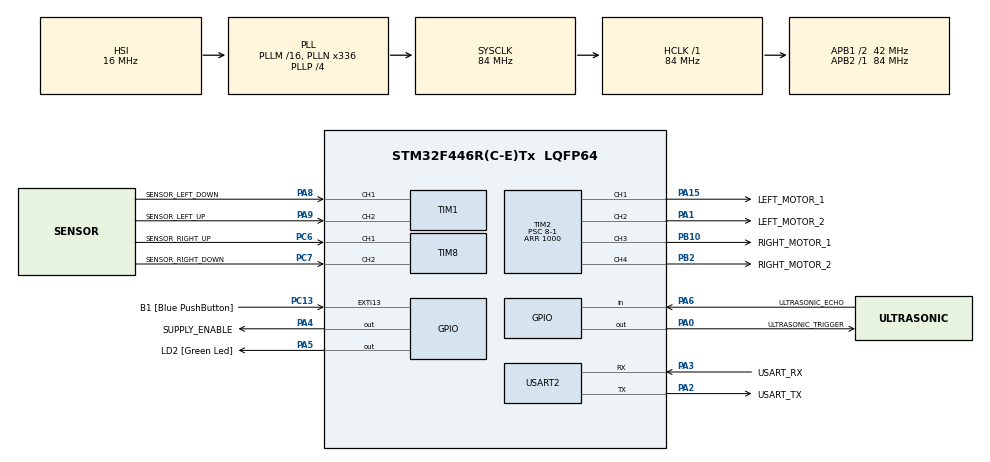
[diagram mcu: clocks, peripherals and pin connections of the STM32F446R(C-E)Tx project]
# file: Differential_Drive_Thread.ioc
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Mcu.Family=STM32F4
VP_TIM5_VS_ClockSourceINT.Mode=Internal
PH0-OSC_IN.Signal=RCC_OSC_IN
VP_SYS_VS_tim6.Mode=TIM6
RCC.CortexFreq_Value=84000000
NVIC.TIM6_DAC_IRQn=true\:0\:0\:false\:false\:true\:false\:false\:true
PA14.GPIO_Label=TCK
PC6.GPIO_Label=SENSOR_RIGHT_UP
TIM1.EncoderMode=TIM_ENCODERMODE_TI1
TIM8.EncoderMode=TIM_ENCODERMODE_TI1
PA6.GPIO_Label=ULTRASONIC_ECHO
TIM2.Channel-PWM\ Generation2\ CH2=TIM_CHANNEL_2
PC13.GPIO_Label=B1 [Blue PushButton]
RCC.SYSCLKSource=RCC_SYSCLKSOURCE_PLLCLK
ProjectManager.StackSize=0x400
VP_FREERTOS_VS_CMSIS_V2.Mode=CMSIS_V2
PA15.GPIO_Label=LEFT_MOTOR_1
RCC.HCLKFreq_Value=84000000
RCC.APB2TimFreq_Value=84000000
TIM3.Period=1000-1
PC7.Signal=S_TIM8_CH2
RCC.AHBFreq_Value=84000000
PH0-OSC_IN.Mode=HSE-External-Oscillator
RCC.HSE_VALUE=8000000
PA4.GPIO_PuPd=GPIO_NOPULL
PB2.Signal=S_TIM2_CH4
TIM12.Period=0xffff
PC14-OSC32_IN.Mode=LSE-External-Oscillator
PA14.Mode=Serial_Wire
TIM3.Prescaler=840-1
PA8.Signal=S_TIM1_CH1
VP_TIM12_VS_ClockSourceINT.Mode=Internal
TIM2.Channel-PWM\ Generation1\ CH1=TIM_CHANNEL_1
RCC.FLatency-AdvancedSettings=FLASH_LATENCY_2
PH1-OSC_OUT.Mode=HSE-External-Oscillator
Mcu.Package=LQFP64
TIM2.Prescaler=8-1
PA6.Signal=GPIO_Input
NVIC.TimeBase=TIM6_DAC_IRQn
USART2.VirtualMode=VM_ASYNC
PA2.GPIO_Label=USART_TX
NVIC.TimeBaseIP=TIM6
PA15.Signal=S_TIM2_CH1_ETR
RCC.APB1TimFreq_Value=84000000
PA4.GPIO_Label=SUPPLY_ENABLE
VP_TIM3_VS_ClockSourceINT.Mode=Internal
PA3.Signal=USART2_RX
PB3.GPIO_Label=SWO
PC15-OSC32_OUT.Mode=LSE-External-Oscillator
TIM2.Channel-PWM\ Generation4\ CH4=TIM_CHANNEL_4
FREERTOS.Tasks01=ControlDiffDriv,48,128,StartControlDiffDrive,Default,NULL,Dynamic,NULL,NULL;DistanceSensor,49,128,StartDistanceSensor,Default,NULL,Dynamic,NULL,NULL
PC13.Signal=GPXTI13
PA9.GPIO_Label=SENSOR_LEFT_UP
PC6.Signal=S_TIM8_CH1
RCC.APB1CLKDivider=RCC_HCLK_DIV2
PC14-OSC32_IN.Signal=RCC_OSC32_IN
SH.S_TIM8_CH2.0=TIM8_CH2,Encoder_Interface
TIM5.ClockDivision=TIM_CLOCKDIVISION_DIV1
PA0-WKUP.GPIO_Label=ULTRASONIC_TRIGGER
PA0-WKUP.Signal=GPIO_Output
PA3.Mode=Asynchronous
PA13.Signal=SYS_JTMS-SWDIO
SH.S_TIM2_CH2.0=TIM2_CH2,PWM Generation2 CH2
PA8.GPIO_Label=SENSOR_LEFT_DOWN
SH.S_TIM1_CH1.0=TIM1_CH1,Encoder_Interface
ProjectManager.TargetToolchain=STM32CubeIDE
PB10.GPIO_Label=RIGHT_MOTOR_1
PA9.Signal=S_TIM1_CH2
RCC.USBFreq_Value=168000000
TIM4.Prescaler=84-1
PC15-OSC32_OUT.Signal=RCC_OSC32_OUT
PA1.Signal=S_TIM2_CH2
PB10.Signal=S_TIM2_CH3
TIM12.Prescaler=84-1
PA5.Signal=GPIO_Output
SH.S_TIM8_CH1.0=TIM8_CH1,Encoder_Interface
board=NUCLEO-F446RE
RCC.VCOOutputFreq_Value=336000000
NVIC.TIM3_IRQn=true\:5\:0\:false\:false\:true\:true\:true\:true
RCC.APB2Freq_Value=84000000
SH.S_TIM1_CH2.0=TIM1_CH2,Encoder_Interface
VP_TIM2_VS_ClockSourceINT.Mode=Internal
SH.S_TIM2_CH3.0=TIM2_CH3,PWM Generation3 CH3
PA1.GPIO_Label=LEFT_MOTOR_2
TIM2.Channel-PWM\ Generation3\ CH3=TIM_CHANNEL_3
PH1-OSC_OUT.Signal=RCC_OSC_OUT
TIM2.Period=1000
PA13.Mode=Serial_Wire
Mcu.Name=STM32F446R(C-E)Tx
PA2.Signal=USART2_TX
PA13.GPIO_Label=TMS
PC7.GPIO_Label=SENSOR_RIGHT_DOWN
RCC.48MHZClocksFreq_Value=84000000
PB3.Signal=SYS_JTDO-SWO
PA4.Signal=GPIO_Output
RCC.SYSCLKFreq_VALUE=84000000
PA5.GPIO_Label=LD2 [Green Led]
TIM5.Prescaler=8400-1
PC13.GPIO_ModeDefaultEXTI=GPIO_MODE_IT_FALLING
SH.S_TIM2_CH1_ETR.0=TIM2_CH1,PWM Generation1 CH1
PA14.Signal=SYS_JTCK-SWCLK
PB2.GPIO_Label=RIGHT_MOTOR_2
ProjectManager.HeapSize=0x200
SH.S_TIM2_CH4.0=TIM2_CH4,PWM Generation4 CH4
RCC.HSI_VALUE=16000000
VP_TIM4_VS_ClockSourceINT.Mode=Internal
RCC.PLLP=RCC_PLLP_DIV4
NVIC.PriorityGroup=NVIC_PRIORITYGROUP_4
RCC.PLLN=336
PA2.Mode=Asynchronous
TIM5.Period=1000000-1
RCC.APB1Freq_Value=42000000
PA3.GPIO_Label=USART_RX

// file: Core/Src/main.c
/* USER CODE BEGIN Header */
/**
  ******************************************************************************
  * @file           : main.c
  * @brief          : Main program body
  ******************************************************************************
  * @attention
  *
  * <h2><center>&copy; Copyright (c) 2021 STMicroelectronics.
  * All rights reserved.</center></h2>
  *
  * This software component is licensed by ST under BSD 3-Clause license,
  * the "License"; You may not use this file except in compliance with the
  * License. You may obtain a copy of the License at:
  *                        opensource.org/licenses/BSD-3-Clause
  *
  ******************************************************************************
  */
/* USER CODE END Header */
#include "main.h"
#include "cmsis_os.h"

/* USER CODE BEGIN Includes */

#include "my_lib/differential_drive.h"
#include "my_lib/retarget.h"
#include "my_lib/datastream.h"
#include "my_lib/idinput_data.h"
#include "my_lib/reference_data.h"
#include "my_lib/identification_data.h"
#include "my_lib/digital_filters.h"
#include "my_lib/utils.h"

#include "stdbool.h"

#include <stdio.h>
#include <stdlib.h>

/* USER CODE END Includes */

TIM_HandleTypeDef htim1;
TIM_HandleTypeDef htim2;
TIM_HandleTypeDef htim3;
TIM_HandleTypeDef htim4;
TIM_HandleTypeDef htim5;
TIM_HandleTypeDef htim8;
TIM_HandleTypeDef htim12;

UART_HandleTypeDef huart2;

/* Definitions for ControlDiffDriv */
osThreadId_t ControlDiffDrivHandle;
const osThreadAttr_t ControlDiffDriv_attributes = {
  .name = "ControlDiffDriv",
  .stack_size = 128 * 4,
  .priority = (osPriority_t) osPriorityRealtime,
};
/* Definitions for DistanceSensor */
osThreadId_t DistanceSensorHandle;
const osThreadAttr_t DistanceSensor_attributes = {
  .name = "DistanceSensor",
  .stack_size = 128 * 4,
  .priority = (osPriority_t) osPriorityRealtime1,
};
/* USER CODE BEGIN PV */

DIFFDRIVE_HandleTypeDef hdiffdrive;
MAF_HandleTypeDef hfilter;

// Debug variable
int check= 0;

/*
short int counter_L[N_sample];
short int counter_R[N_sample];
float input_L[N_sample+1];
float input_R[N_sample+1];
float t[N_sample];
*/

/* USER CODE END PV */

void SystemClock_Config(void);
static void MX_GPIO_Init(void);
static void MX_USART2_UART_Init(void);
static void MX_TIM2_Init(void);
static void MX_TIM1_Init(void);
static void MX_TIM3_Init(void);
static void MX_TIM8_Init(void);
static void MX_TIM4_Init(void);
static void MX_TIM5_Init(void);
static void MX_TIM12_Init(void);
void StartControlDiffDrive(void *argument);
void StartDistanceSensor(void *argument);

/* USER CODE BEGIN PFP */

static void MAIN_DIFFDRIVE_Init(void);
static void MAIN_MAF_Init(void);

/* USER CODE END PFP */

/* USER CODE BEGIN 0 */

bool flag_update;
bool flag_send= false;

float* x= DELTA_A_ref;
float* y= DELTA_THETA_ref;

float delta_a=0, delta_th=0;

void delay_us(uint32_t us){
	__HAL_TIM_SET_COUNTER(&htim12, 0);
	while ((__HAL_TIM_GET_COUNTER(&htim12)) < us)
		;
}

float HCSR04_read (void){
	uint32_t echo_time = 0;

	// Start Timer
	HAL_TIM_Base_Start(&htim12);

	// Pull TRIG pin low for at least 2 us
	HAL_GPIO_WritePin(GPIOA, GPIO_PIN_0, GPIO_PIN_RESET);
	delay_us(2);

	// Keep TRIG pin High for 10 us for start the sensor
	HAL_GPIO_WritePin(GPIOA, GPIO_PIN_0, GPIO_PIN_SET);
	delay_us(10);
	HAL_GPIO_WritePin(GPIOA, GPIO_PIN_0, GPIO_PIN_RESET);

	// Wait for the ECHO pin to go high
	while ( !(HAL_GPIO_ReadPin(GPIOA, GPIO_PIN_6)) );

	// Measure time for which the pin is high
	__HAL_TIM_SET_COUNTER(&htim12, 0);
	while (HAL_GPIO_ReadPin(GPIOA, GPIO_PIN_6))
		;

	// Measured Time
	echo_time= __HAL_TIM_GET_COUNTER(&htim12);

	// Stop Timer
	HAL_TIM_Base_Stop(&htim12);

	// Measure distance in cm (sound speed on air is about 0.0343 cm/us, us := microseconds)
	float distance  = (float)echo_time * (float)(0.0343)/2;

	return distance;
}

/* USER CODE END 0 */

int main(void)
{

  /* MCU Configuration--------------------------------------------------------*/

  /* Reset of all peripherals, Initializes the Flash interface and the Systick. */
  HAL_Init();

  /* Configure the system clock */
  SystemClock_Config();

  /* Initialize all configured peripherals */
  MX_GPIO_Init();
  MX_USART2_UART_Init();
  MX_TIM2_Init();
  MX_TIM1_Init();
  MX_TIM3_Init();
  MX_TIM8_Init();
  MX_TIM4_Init();
  MX_TIM5_Init();
  MX_TIM12_Init();
  /* USER CODE BEGIN 2 */

  // Initialize
  DATASTREAM_Init(&huart2);
  MAIN_DIFFDRIVE_Init();
  MAIN_MAF_Init();

  /* USER CODE END 2 */

  /* Init scheduler */
  osKernelInitialize();

  /* Create the thread(s) */
  /* creation of ControlDiffDriv */
  ControlDiffDrivHandle = osThreadNew(StartControlDiffDrive, NULL, &ControlDiffDriv_attributes);

  /* creation of DistanceSensor */
  DistanceSensorHandle = osThreadNew(StartDistanceSensor, NULL, &DistanceSensor_attributes);

  /* Start scheduler */
  osKernelStart();

  /* We should never get here as control is now taken by the scheduler */
  /* Infinite loop */
  while (1)
  {

  }
}

void SystemClock_Config(void)
{
  RCC_OscInitTypeDef RCC_OscInitStruct = {0};
  RCC_ClkInitTypeDef RCC_ClkInitStruct = {0};

  /** Configure the main internal regulator output voltage
  */
  __HAL_RCC_PWR_CLK_ENABLE();
  __HAL_PWR_VOLTAGESCALING_CONFIG(PWR_REGULATOR_VOLTAGE_SCALE3);
  /** Initializes the RCC Oscillators according to the specified parameters
  * in the RCC_OscInitTypeDef structure.
  */
  RCC_OscInitStruct.OscillatorType = RCC_OSCILLATORTYPE_HSI;
  RCC_OscInitStruct.HSIState = RCC_HSI_ON;
  RCC_OscInitStruct.HSICalibrationValue = RCC_HSICALIBRATION_DEFAULT;
  RCC_OscInitStruct.PLL.PLLState = RCC_PLL_ON;
  RCC_OscInitStruct.PLL.PLLSource = RCC_PLLSOURCE_HSI;
  RCC_OscInitStruct.PLL.PLLM = 16;
  RCC_OscInitStruct.PLL.PLLN = 336;
  RCC_OscInitStruct.PLL.PLLP = RCC_PLLP_DIV4;
  RCC_OscInitStruct.PLL.PLLQ = 2;
  RCC_OscInitStruct.PLL.PLLR = 2;
  if (HAL_RCC_OscConfig(&RCC_OscInitStruct) != HAL_OK)
  {
    Error_Handler();
  }
  /** Initializes the CPU, AHB and APB buses clocks
  */
  RCC_ClkInitStruct.ClockType = RCC_CLOCKTYPE_HCLK|RCC_CLOCKTYPE_SYSCLK
                              |RCC_CLOCKTYPE_PCLK1|RCC_CLOCKTYPE_PCLK2;
  RCC_ClkInitStruct.SYSCLKSource = RCC_SYSCLKSOURCE_PLLCLK;
  RCC_ClkInitStruct.AHBCLKDivider = RCC_SYSCLK_DIV1;
  RCC_ClkInitStruct.APB1CLKDivider = RCC_HCLK_DIV2;
  RCC_ClkInitStruct.APB2CLKDivider = RCC_HCLK_DIV1;

  if (HAL_RCC_ClockConfig(&RCC_ClkInitStruct, FLASH_LATENCY_2) != HAL_OK)
  {
    Error_Handler();
  }
}

static void MX_TIM1_Init(void)
{

  TIM_Encoder_InitTypeDef sConfig = {0};
  TIM_MasterConfigTypeDef sMasterConfig = {0};

  htim1.Instance = TIM1;
  htim1.Init.Prescaler = 0;
  htim1.Init.CounterMode = TIM_COUNTERMODE_UP;
  htim1.Init.Period = 65535;
  htim1.Init.ClockDivision = TIM_CLOCKDIVISION_DIV1;
  htim1.Init.RepetitionCounter = 0;
  htim1.Init.AutoReloadPreload = TIM_AUTORELOAD_PRELOAD_DISABLE;
  sConfig.EncoderMode = TIM_ENCODERMODE_TI1;
  sConfig.IC1Polarity = TIM_ICPOLARITY_RISING;
  sConfig.IC1Selection = TIM_ICSELECTION_DIRECTTI;
  sConfig.IC1Prescaler = TIM_ICPSC_DIV1;
  sConfig.IC1Filter = 0;
  sConfig.IC2Polarity = TIM_ICPOLARITY_RISING;
  sConfig.IC2Selection = TIM_ICSELECTION_DIRECTTI;
  sConfig.IC2Prescaler = TIM_ICPSC_DIV1;
  sConfig.IC2Filter = 0;
  if (HAL_TIM_Encoder_Init(&htim1, &sConfig) != HAL_OK)
  {
    Error_Handler();
  }
  sMasterConfig.MasterOutputTrigger = TIM_TRGO_RESET;
  sMasterConfig.MasterSlaveMode = TIM_MASTERSLAVEMODE_DISABLE;
  if (HAL_TIMEx_MasterConfigSynchronization(&htim1, &sMasterConfig) != HAL_OK)
  {
    Error_Handler();
  }

}

static void MX_TIM2_Init(void)
{

  TIM_ClockConfigTypeDef sClockSourceConfig = {0};
  TIM_MasterConfigTypeDef sMasterConfig = {0};
  TIM_OC_InitTypeDef sConfigOC = {0};

  htim2.Instance = TIM2;
  htim2.Init.Prescaler = 8-1;
  htim2.Init.CounterMode = TIM_COUNTERMODE_UP;
  htim2.Init.Period = 1000;
  htim2.Init.ClockDivision = TIM_CLOCKDIVISION_DIV1;
  htim2.Init.AutoReloadPreload = TIM_AUTORELOAD_PRELOAD_DISABLE;
  if (HAL_TIM_Base_Init(&htim2) != HAL_OK)
  {
    Error_Handler();
  }
  sClockSourceConfig.ClockSource = TIM_CLOCKSOURCE_INTERNAL;
  if (HAL_TIM_ConfigClockSource(&htim2, &sClockSourceConfig) != HAL_OK)
  {
    Error_Handler();
  }
  if (HAL_TIM_PWM_Init(&htim2) != HAL_OK)
  {
    Error_Handler();
  }
  sMasterConfig.MasterOutputTrigger = TIM_TRGO_RESET;
  sMasterConfig.MasterSlaveMode = TIM_MASTERSLAVEMODE_DISABLE;
  if (HAL_TIMEx_MasterConfigSynchronization(&htim2, &sMasterConfig) != HAL_OK)
  {
    Error_Handler();
  }
  sConfigOC.OCMode = TIM_OCMODE_PWM1;
  sConfigOC.Pulse = 0;
  sConfigOC.OCPolarity = TIM_OCPOLARITY_HIGH;
  sConfigOC.OCFastMode = TIM_OCFAST_DISABLE;
  if (HAL_TIM_PWM_ConfigChannel(&htim2, &sConfigOC, TIM_CHANNEL_1) != HAL_OK)
  {
    Error_Handler();
  }
  if (HAL_TIM_PWM_ConfigChannel(&htim2, &sConfigOC, TIM_CHANNEL_2) != HAL_OK)
  {
    Error_Handler();
  }
  if (HAL_TIM_PWM_ConfigChannel(&htim2, &sConfigOC, TIM_CHANNEL_3) != HAL_OK)
  {
    Error_Handler();
  }
  if (HAL_TIM_PWM_ConfigChannel(&htim2, &sConfigOC, TIM_CHANNEL_4) != HAL_OK)
  {
    Error_Handler();
  }
  HAL_TIM_MspPostInit(&htim2);

}

static void MX_TIM3_Init(void)
{

  TIM_ClockConfigTypeDef sClockSourceConfig = {0};
  TIM_MasterConfigTypeDef sMasterConfig = {0};

  htim3.Instance = TIM3;
  htim3.Init.Prescaler = 840-1;
  htim3.Init.CounterMode = TIM_COUNTERMODE_UP;
  htim3.Init.Period = 1000-1;
  htim3.Init.ClockDivision = TIM_CLOCKDIVISION_DIV1;
  htim3.Init.AutoReloadPreload = TIM_AUTORELOAD_PRELOAD_DISABLE;
  if (HAL_TIM_Base_Init(&htim3) != HAL_OK)
  {
    Error_Handler();
  }
  sClockSourceConfig.ClockSource = TIM_CLOCKSOURCE_INTERNAL;
  if (HAL_TIM_ConfigClockSource(&htim3, &sClockSourceConfig) != HAL_OK)
  {
    Error_Handler();
  }
  sMasterConfig.MasterOutputTrigger = TIM_TRGO_RESET;
  sMasterConfig.MasterSlaveMode = TIM_MASTERSLAVEMODE_DISABLE;
  if (HAL_TIMEx_MasterConfigSynchronization(&htim3, &sMasterConfig) != HAL_OK)
  {
    Error_Handler();
  }

}

static void MX_TIM4_Init(void)
{

  TIM_ClockConfigTypeDef sClockSourceConfig = {0};
  TIM_MasterConfigTypeDef sMasterConfig = {0};

  htim4.Instance = TIM4;
  htim4.Init.Prescaler = 84-1;
  htim4.Init.CounterMode = TIM_COUNTERMODE_UP;
  htim4.Init.Period = 65535;
  htim4.Init.ClockDivision = TIM_CLOCKDIVISION_DIV1;
  htim4.Init.AutoReloadPreload = TIM_AUTORELOAD_PRELOAD_DISABLE;
  if (HAL_TIM_Base_Init(&htim4) != HAL_OK)
  {
    Error_Handler();
  }
  sClockSourceConfig.ClockSource = TIM_CLOCKSOURCE_INTERNAL;
  if (HAL_TIM_ConfigClockSource(&htim4, &sClockSourceConfig) != HAL_OK)
  {
    Error_Handler();
  }
  sMasterConfig.MasterOutputTrigger = TIM_TRGO_RESET;
  sMasterConfig.MasterSlaveMode = TIM_MASTERSLAVEMODE_DISABLE;
  if (HAL_TIMEx_MasterConfigSynchronization(&htim4, &sMasterConfig) != HAL_OK)
  {
    Error_Handler();
  }

}

static void MX_TIM5_Init(void)
{

  TIM_ClockConfigTypeDef sClockSourceConfig = {0};
  TIM_MasterConfigTypeDef sMasterConfig = {0};

  htim5.Instance = TIM5;
  htim5.Init.Prescaler = 8400-1;
  htim5.Init.CounterMode = TIM_COUNTERMODE_UP;
  htim5.Init.Period = 1000000-1;
  htim5.Init.ClockDivision = TIM_CLOCKDIVISION_DIV1;
  htim5.Init.AutoReloadPreload = TIM_AUTORELOAD_PRELOAD_DISABLE;
  if (HAL_TIM_Base_Init(&htim5) != HAL_OK)
  {
    Error_Handler();
  }
  sClockSourceConfig.ClockSource = TIM_CLOCKSOURCE_INTERNAL;
  if (HAL_TIM_ConfigClockSource(&htim5, &sClockSourceConfig) != HAL_OK)
  {
    Error_Handler();
  }
  sMasterConfig.MasterOutputTrigger = TIM_TRGO_RESET;
  sMasterConfig.MasterSlaveMode = TIM_MASTERSLAVEMODE_DISABLE;
  if (HAL_TIMEx_MasterConfigSynchronization(&htim5, &sMasterConfig) != HAL_OK)
  {
    Error_Handler();
  }

}

static void MX_TIM8_Init(void)
{

  TIM_Encoder_InitTypeDef sConfig = {0};
  TIM_MasterConfigTypeDef sMasterConfig = {0};

  htim8.Instance = TIM8;
  htim8.Init.Prescaler = 0;
  htim8.Init.CounterMode = TIM_COUNTERMODE_UP;
  htim8.Init.Period = 65535;
  htim8.Init.ClockDivision = TIM_CLOCKDIVISION_DIV1;
  htim8.Init.RepetitionCounter = 0;
  htim8.Init.AutoReloadPreload = TIM_AUTORELOAD_PRELOAD_DISABLE;
  sConfig.EncoderMode = TIM_ENCODERMODE_TI1;
  sConfig.IC1Polarity = TIM_ICPOLARITY_RISING;
  sConfig.IC1Selection = TIM_ICSELECTION_DIRECTTI;
  sConfig.IC1Prescaler = TIM_ICPSC_DIV1;
  sConfig.IC1Filter = 0;
  sConfig.IC2Polarity = TIM_ICPOLARITY_RISING;
  sConfig.IC2Selection = TIM_ICSELECTION_DIRECTTI;
  sConfig.IC2Prescaler = TIM_ICPSC_DIV1;
  sConfig.IC2Filter = 0;
  if (HAL_TIM_Encoder_Init(&htim8, &sConfig) != HAL_OK)
  {
    Error_Handler();
  }
  sMasterConfig.MasterOutputTrigger = TIM_TRGO_RESET;
  sMasterConfig.MasterSlaveMode = TIM_MASTERSLAVEMODE_DISABLE;
  if (HAL_TIMEx_MasterConfigSynchronization(&htim8, &sMasterConfig) != HAL_OK)
  {
    Error_Handler();
  }

}

static void MX_TIM12_Init(void)
{

  TIM_ClockConfigTypeDef sClockSourceConfig = {0};

  htim12.Instance = TIM12;
  htim12.Init.Prescaler = 84-1;
  htim12.Init.CounterMode = TIM_COUNTERMODE_UP;
  htim12.Init.Period = 0xffff;
  htim12.Init.ClockDivision = TIM_CLOCKDIVISION_DIV1;
  htim12.Init.AutoReloadPreload = TIM_AUTORELOAD_PRELOAD_DISABLE;
  if (HAL_TIM_Base_Init(&htim12) != HAL_OK)
  {
    Error_Handler();
  }
  sClockSourceConfig.ClockSource = TIM_CLOCKSOURCE_INTERNAL;
  if (HAL_TIM_ConfigClockSource(&htim12, &sClockSourceConfig) != HAL_OK)
  {
    Error_Handler();
  }

}

static void MX_USART2_UART_Init(void)
{

  huart2.Instance = USART2;
  huart2.Init.BaudRate = 115200;
  huart2.Init.WordLength = UART_WORDLENGTH_8B;
  huart2.Init.StopBits = UART_STOPBITS_1;
  huart2.Init.Parity = UART_PARITY_NONE;
  huart2.Init.Mode = UART_MODE_TX_RX;
  huart2.Init.HwFlowCtl = UART_HWCONTROL_NONE;
  huart2.Init.OverSampling = UART_OVERSAMPLING_16;
  if (HAL_UART_Init(&huart2) != HAL_OK)
  {
    Error_Handler();
  }

}

static void MX_GPIO_Init(void)
{
  GPIO_InitTypeDef GPIO_InitStruct = {0};

  /* GPIO Ports Clock Enable */
  __HAL_RCC_GPIOC_CLK_ENABLE();
  __HAL_RCC_GPIOH_CLK_ENABLE();
  __HAL_RCC_GPIOA_CLK_ENABLE();
  __HAL_RCC_GPIOB_CLK_ENABLE();

  /*Configure GPIO pin Output Level */
  HAL_GPIO_WritePin(GPIOA, ULTRASONIC_TRIGGER_Pin|SUPPLY_ENABLE_Pin|LD2_Pin, GPIO_PIN_RESET);

  /*Configure GPIO pin : B1_Pin */
  GPIO_InitStruct.Pin = B1_Pin;
  GPIO_InitStruct.Mode = GPIO_MODE_IT_FALLING;
  GPIO_InitStruct.Pull = GPIO_NOPULL;
  HAL_GPIO_Init(B1_GPIO_Port, &GPIO_InitStruct);

  /*Configure GPIO pins : ULTRASONIC_TRIGGER_Pin SUPPLY_ENABLE_Pin LD2_Pin */
  GPIO_InitStruct.Pin = ULTRASONIC_TRIGGER_Pin|SUPPLY_ENABLE_Pin|LD2_Pin;
  GPIO_InitStruct.Mode = GPIO_MODE_OUTPUT_PP;
  GPIO_InitStruct.Pull = GPIO_NOPULL;
  GPIO_InitStruct.Speed = GPIO_SPEED_FREQ_LOW;
  HAL_GPIO_Init(GPIOA, &GPIO_InitStruct);

  /*Configure GPIO pin : ULTRASONIC_ECHO_Pin */
  GPIO_InitStruct.Pin = ULTRASONIC_ECHO_Pin;
  GPIO_InitStruct.Mode = GPIO_MODE_INPUT;
  GPIO_InitStruct.Pull = GPIO_NOPULL;
  HAL_GPIO_Init(ULTRASONIC_ECHO_GPIO_Port, &GPIO_InitStruct);

}

/* USER CODE BEGIN 4 */

static void MAIN_DIFFDRIVE_Init(void){

	float Ts= 0.01;
	int max_sample= 2000;

	hdiffdrive.Init.timing_htim= &htim3;
	hdiffdrive.Init.timing_time_step= Ts;

	hdiffdrive.Init.sensor_htim[left ]= &htim1;
	hdiffdrive.Init.sensor_htim[right]= &htim8;
	hdiffdrive.Init.sensor_channel[left ]= TIM_CHANNEL_1;
	hdiffdrive.Init.sensor_channel[right]= TIM_CHANNEL_1;

	hdiffdrive.Init.motor_htim[left ]= &htim2;
	hdiffdrive.Init.motor_htim[right]= &htim2;

	hdiffdrive.Init.motor_pwm_channel[left ][forward ]= TIM_CHANNEL_1;
	hdiffdrive.Init.motor_pwm_channel[left ][backward]= TIM_CHANNEL_2;
	hdiffdrive.Init.motor_pwm_channel[right][forward ]= TIM_CHANNEL_3;
	hdiffdrive.Init.motor_pwm_channel[right][backward]= TIM_CHANNEL_4;

	hdiffdrive.Init.control_fdfrwrd_arma_AR[left ]= AR_L;
	hdiffdrive.Init.control_fdfrwrd_arma_AR[right]= AR_R;
	hdiffdrive.Init.control_fdfrwrd_arma_MA[left ]= MA_L;
	hdiffdrive.Init.control_fdfrwrd_arma_MA[right]= MA_R;
	hdiffdrive.Init.control_fdfrwrd_arma_n_ar[left ]= N_AR_L;
	hdiffdrive.Init.control_fdfrwrd_arma_n_ar[right]= N_AR_R;
	hdiffdrive.Init.control_fdfrwrd_arma_n_ma[left ]= N_MA_L;
	hdiffdrive.Init.control_fdfrwrd_arma_n_ma[right]= N_MA_R;
	hdiffdrive.Init.control_fdfrwrd_arma_tau[left ]=  TAU_L;
	hdiffdrive.Init.control_fdfrwrd_arma_tau[right]=  TAU_R;

	hdiffdrive.Init.control_pid_P[left ]= 0.40835;
	hdiffdrive.Init.control_pid_P[right]= 0.40835;
	hdiffdrive.Init.control_pid_I[left ]= 0.27005;
	hdiffdrive.Init.control_pid_I[right]= 0.27005;
	hdiffdrive.Init.control_pid_D[left ]= 0;
	hdiffdrive.Init.control_pid_D[right]= 0;

	hdiffdrive.Init.history_max_sample[left]=  max_sample;
	hdiffdrive.Init.history_max_sample[right]= max_sample;

	hdiffdrive.Init.mech_prmtr.l= 0.127/2;
	hdiffdrive.Init.mech_prmtr.r= 0.0659/2;

	DIFFDRIVE_Init(&hdiffdrive);

}

// Moving Average Filter initialization --------------------------------------------- //

static void MAIN_MAF_Init(void){

	int filtr_size= 4;

	// Values buffer
	float* fltr_buff = (float*)calloc(filtr_size,sizeof(float));
	// Null pointer to use a MAF without weights
	void* weights_buff= NULL;

	// Creating filter
	hfilter= MAF_Create(fltr_buff, filtr_size, weights_buff);

}

/* USER CODE END 4 */

void StartControlDiffDrive(void *argument)
{
  /* USER CODE BEGIN 5 */

	while( HAL_GPIO_ReadPin(B1_GPIO_Port, B1_Pin) );
		;

	// Enabling Supply Voltage
	HAL_GPIO_WritePin(SUPPLY_ENABLE_GPIO_Port, SUPPLY_ENABLE_Pin, GPIO_PIN_SET);
	osDelay(1000);

	DIFFDRIVE_CONTROL_TypeDef *hctrl= hdiffdrive.control;

	float newest_target[2]= {0, 0};
	float delta_theta;

	// Init feed-forward buffer (with NULL value in second argument the buffers are initialized with zeros)
	FEEDFORWARD_Buffer_Init(&hctrl[left ].fdfrwrd, NULL);
	FEEDFORWARD_Buffer_Init(&hctrl[right].fdfrwrd, NULL);

	__HAL_TIM_SET_COUNTER(&htim5,0);
	HAL_TIM_Base_Start(&htim5);

	// Reset encoder sensor' counter
	DIFFDRIVE_SENSOR_Reset();

	// Starting and enabling history
	DIFFDRIVE_HISTORY_Start();

	// Start control timing
	DIFFDRIVE_TIMING_Start();

	int i=0;
	long int temp[10];

  /* Infinite loop */
  for(;;)
  {
	  __HAL_TIM_SET_COUNTER(&htim5,0);
//	  if(flag_update)
//		  delta_theta= delta_th;

	  // Computing newest Target
	  DIFFDRIVE_Compute_Wheel_Target(newest_target, delta_a, delta_th);

	  // Control wheels
	  DIFFDRIVE_Wheel_Motion_Control(newest_target);

	  if( !HAL_GPIO_ReadPin(B1_GPIO_Port, B1_Pin) ){

		  // Stop other thread while sending values
		  osThreadSuspend(DistanceSensorHandle);

		  DIFFDRIVE_HISTORY_TypeDef* tmphist= hdiffdrive.history;

		  DIFFDRIVE_TIMING_Stop();
		  DIFFDRIVE_MOTOR_Stop();

		  osDelay(1000);

		  for(int k= 0; k < tmphist[left].time_index; k++){
			  DATASTREAM_RTOS_Send_Value(
					  stream_on_matlab, 6,
					  tmphist[left].input[k],        tmphist[right].input[k],
					  tmphist[left].wheel_actual[k], tmphist[right].wheel_actual[k],
					  tmphist[left].wheel_target[k], tmphist[right].wheel_target[k]
			  );
			  // Toggling led to show data transfer operation
			  if( !(k%50) )
				  HAL_GPIO_TogglePin(LD2_GPIO_Port, LD2_Pin);
		  }

		  // Resume other thread
		  osThreadResume(DistanceSensorHandle);

		  // Init feed-forward buffer (with NULL value in second argument the buffers are initialized with zeros)
		  FEEDFORWARD_Buffer_Init(&hctrl[left ].fdfrwrd, NULL);
		  FEEDFORWARD_Buffer_Init(&hctrl[right].fdfrwrd, NULL);

		  newest_target[left ]= 0;
		  newest_target[right]= 0;

		  DIFFDRIVE_SENSOR_Reset();
		  DIFFDRIVE_HISTORY_Start();
		  DIFFDRIVE_TIMING_Start();
	  }

	  if( i<10 )
		  temp[i]= (long int)__HAL_TIM_GET_COUNTER(&htim5);
	  i++;
/*
	  // Computing newest Target
	  DIFFDRIVE_Compute_Wheel_Target(newest_target, x[i], y[i]);

	  // Control wheels
	  DIFFDRIVE_Wheel_Motion_Control(newest_target);

	  if( i<N_SAMPLE_REF )
		  i++;
	  else{
		  DIFFDRIVE_MOTOR_Stop();

		  i=0;
		  uint32_t cnt= __HAL_TIM_GET_COUNTER(&htim5);

		  osDelay(2000);
	  }
*/
  }
  /* USER CODE END 5 */
}

void StartDistanceSensor(void *argument)
{
  /* USER CODE BEGIN StartDistanceSensor */

	float distance;
	char uart_data_buff[8];

	int i= 0;
	bool flag_tmp= false;

  /* Infinite loop */
  for(;;)
  {

	  distance= HCSR04_read();

	  // Moving Average Filter
	  MAF_Update(&hfilter, distance);
	  // Extracting Moving Average Value
	  distance= __MAF_GET_VAL(hfilter);

	  if( distance < 1)
		  distance = 1;
	  else
	  if( distance > 180 )
		  distance= 180;

	  delta_a= 4*distance/100000; //0.001;
	  delta_th= 20*1/distance*0.03;

	  if( distance < 10 )
		  delta_a= 0;

	  if( delta_th > 0.025 )
		  delta_th= 0.025;

	  if( delta_th < 0.01 )
		  delta_th= 0;

	  if ( delta_a > 0.002)
		  delta_a= 0.002;

	  if( flag_tmp )
		  delta_th= -delta_th;

	  if( i%100 == 0)
		  flag_tmp= !flag_tmp;

	  i++;

/*
	  ftoa(distance, uart_data_buff, 4); // Float to Array!

	  // Polling TX - a transmission every second
	  HAL_UART_Transmit(&huart2, (uint8_t *)uart_data_buff, sizeof(uart_data_buff), HAL_MAX_DELAY);
	  HAL_UART_Transmit(&huart2, (uint8_t *)((char[1]){'\n'}), sizeof(char),HAL_MAX_DELAY);
*/

	  // Wait at least 60ms for ultrasonic sensor
	  osDelay(60);

	  HAL_GPIO_TogglePin(LD2_GPIO_Port, LD2_Pin);

  }
  /* USER CODE END StartDistanceSensor */
}

 /**
  * @brief  Period elapsed callback in non blocking mode
  * @note   This function is called  when TIM6 interrupt took place, inside
  * HAL_TIM_IRQHandler(). It makes a direct call to HAL_IncTick() to increment
  * a global variable "uwTick" used as application time base.
  * @param  htim : TIM handle
  * @retval None
  */
void HAL_TIM_PeriodElapsedCallback(TIM_HandleTypeDef *htim)
{
  if (htim->Instance == TIM6) {
    HAL_IncTick();
  }
}

void Error_Handler(void)
{
  __disable_irq();
  while (1)
  {
  }
}

/************************ (C) COPYRIGHT STMicroelectronics *****END OF FILE****/
